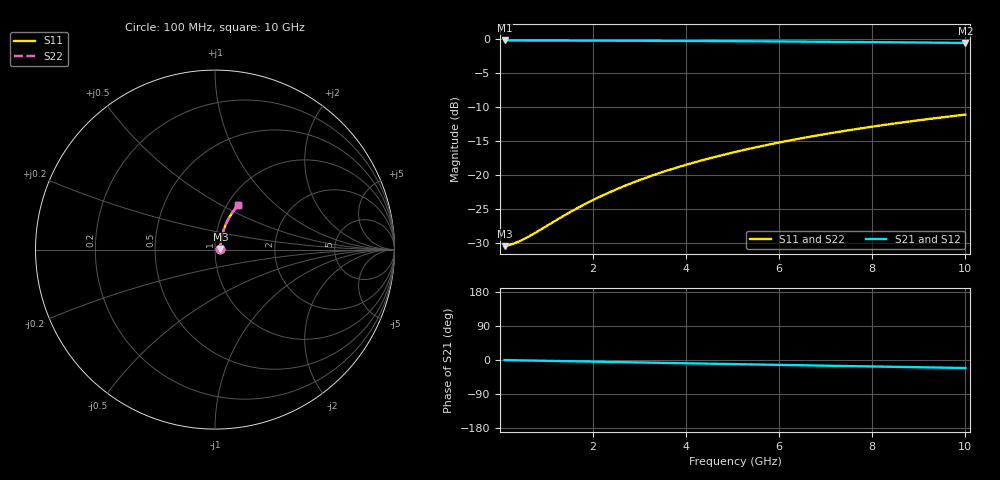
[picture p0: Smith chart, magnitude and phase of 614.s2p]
# Hz S RI R 50.00
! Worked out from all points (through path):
!   100 points, 100 MHz to 10 GHz, reference 50 ohm
!   highest |S21| = -0.26 dB at 100 MHz (marker M1); lowest = -0.6 dB at 10 GHz (marker M2)
!   group delay of S21, straight-line fit = 5.88 ps
!   lowest |S11| = -30.4 dB at 100 MHz (marker M3), VSWR 1.06, Z = 53.1 + j0.296 ohm
!   |S11| at or under -10 dB: start of sweep to end of sweep
!   |S22| runs from -30.4 to -11.1 dB; largest |S21 - S12| = 0
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1e8  0.03 0.00279  0.97 -0.00367  0.97 -0.00367  0.03 0.00279
2e8  0.0303 0.00557  0.9697 -0.00734  0.9697 -0.00734  0.0303 0.00557
3e8  0.0305 0.00835  0.9695 -0.011  0.9695 -0.011  0.0305 0.00835
4e8  0.0306 0.0111  0.9693 -0.0147  0.9693 -0.0147  0.0306 0.0111
6e8  0.031 0.0167  0.9689 -0.022  0.9689 -0.022  0.031 0.0167
8e8  0.0315 0.0222  0.9685 -0.0293  0.9685 -0.0293  0.0315 0.0222
1.4e9  0.0332 0.0388  0.9667 -0.0512  0.9667 -0.0512  0.0332 0.0388
1.8e9  0.0347 0.0498  0.9652 -0.0657  0.9652 -0.0657  0.0347 0.0498
2.2e9  0.0365 0.0607  0.9633 -0.0802  0.9633 -0.0802  0.0365 0.0607
2.6e9  0.0386 0.0716  0.9611 -0.0946  0.9611 -0.0946  0.0386 0.0716
3e9  0.0411 0.0823  0.9586 -0.1089  0.9586 -0.1089  0.0411 0.0823
3.4e9  0.0438 0.093  0.9557 -0.1232  0.9557 -0.1232  0.0438 0.093
3.8e9  0.0468 0.1036  0.9526 -0.1373  0.9526 -0.1373  0.0468 0.1036
4.2e9  0.0502 0.114  0.9491 -0.1513  0.9491 -0.1513  0.0502 0.114
4.6e9  0.0538 0.1243  0.9453 -0.1651  0.9453 -0.1651  0.0538 0.1243
5.1e9  0.0588 0.137  0.9401 -0.1823  0.9401 -0.1823  0.0588 0.137
5.9e9  0.0677 0.1568  0.9309 -0.2092  0.9309 -0.2092  0.0677 0.1568
6.7e9  0.0776 0.1759  0.9206 -0.2355  0.9206 -0.2355  0.0776 0.1759
7.5e9  0.0885 0.1943  0.9092 -0.2609  0.9092 -0.2609  0.0885 0.1943
8.4e9  0.102 0.2139  0.8951 -0.2887  0.8951 -0.2887  0.102 0.2139
9.2e9  0.1148 0.2305  0.8817 -0.3124  0.8817 -0.3124  0.1148 0.2305
1e10  0.1285 0.2461  0.8674 -0.3352  0.8674 -0.3352  0.1285 0.2461
